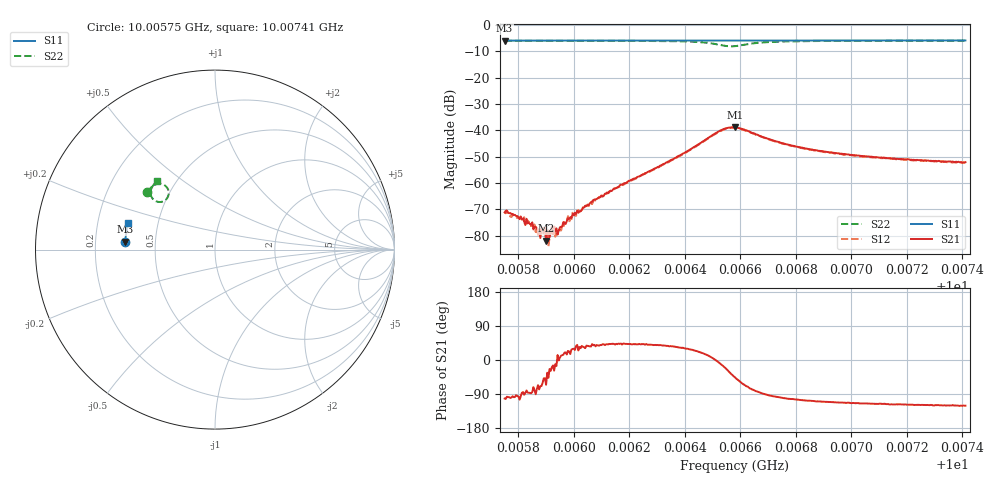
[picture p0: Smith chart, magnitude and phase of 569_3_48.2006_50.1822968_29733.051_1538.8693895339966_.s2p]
#  HZ  S  RI  R  50.00
! Rohde & Schwarz Vector Network Analyzer
! Rohde-Schwarz,ZNB20-2Port,1311601062101988,3.16
! Created: UTC 3/20/2024, 12:01:37 PM
! freq[Hz]  re:S11  im:S11  re:S21  im:S21  re:S12  im:S12  re:S22  im:S22
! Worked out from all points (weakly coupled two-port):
!   401 points, 10.00575 GHz to 10.00741 GHz, reference 50 ohm
!   highest |S21| = -38.81 dB at 10.00658 GHz (marker M1); lowest = -81.8 dB at 10.0059 GHz (marker M2)
!   lowest |S11| = -6.0 dB at 10.00575 GHz (marker M3), VSWR 3.01, Z = 16.6 + j2 ohm
!   |S11| at or under -10 dB: nowhere
!   |S22| runs from -8.2 to -6.0 dB; largest |S21 - S12| = 0.00083
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1.000575e10  -0.4998 0.045  -5.58e-05 -0.000273  -2.79e-05 -0.000275  -0.3801 0.3209
1.0005813e10  -0.4995 0.0491  1.2e-05 -0.000203  9.81e-06 -0.000202  -0.3768 0.3249
1.0005879e10  -0.4992 0.0534  3.24e-05 -8.51e-05  6.82e-05 -0.000118  -0.3735 0.3289
1.0005887e10  -0.4991 0.0539  6.29e-05 -0.00011  6.39e-05 -8.04e-05  -0.373 0.3294
1.00059e10  -0.4992 0.0547  3.37e-05 -7.37e-05  5.18e-05 -8.23e-05  -0.3724 0.3302
1.0005908e10  -0.4991 0.0555  8.65e-05 -9.36e-05  6.08e-05 -1.9e-05  -0.3719 0.3308
1.0005916e10  -0.4992 0.056  0.000108 -5.82e-05  8.24e-05 -7.81e-05  -0.3715 0.3313
1.0005933e10  -0.4989 0.057  0.000122 -2.38e-05  9.33e-05 -2.37e-05  -0.3705 0.3324
1.0005941e10  -0.4989 0.0576  0.000103 2.4e-05  0.000118 -1.84e-05  -0.3701 0.3329
1.0005975e10  -0.4989 0.0597  0.000184 4.8e-05  0.000183 6.26e-05  -0.3683 0.3352
1.0006004e10  -0.4985 0.0616  0.000244 0.000123  0.000216 0.000117  -0.3664 0.3369
1.0006029e10  -0.4983 0.0632  0.000249 0.000189  0.000235 0.000198  -0.3647 0.3387
1.000607e10  -0.4979 0.066  0.000372 0.0003  0.000371 0.000277  -0.362 0.3416
1.0006174e10  -0.4973 0.0726  0.000697 0.000603  0.000654 0.000664  -0.3538 0.3491
1.0006307e10  -0.4963 0.0813  0.00159 0.00128  0.0015 0.00135  -0.3379 0.3599
1.0006444e10  -0.4948 0.0902  0.00479 0.00207  0.00458 0.00225  -0.3004 0.3662
1.0006527e10  -0.4933 0.0953  0.00972 -0.00155  0.00956 -0.000961  -0.2585 0.3256
1.0006581e10  -0.4928 0.0981  0.008 -0.00821  0.0082 -0.00752  -0.2873 0.2694
1.0006668e10  -0.4925 0.1034  0.000641 -0.00789  0.00102 -0.00777  -0.3525 0.2915
1.0006859e10  -0.4905 0.1158  -0.00134 -0.00412  -0.00113 -0.00411  -0.3539 0.3412
1.0007138e10  -0.4865 0.1337  -0.00135 -0.00263  -0.00118 -0.00266  -0.3375 0.3671
1.0007412e10  -0.4822 0.1506  -0.00126 -0.00214  -0.00114 -0.00212  -0.3227 0.3835
